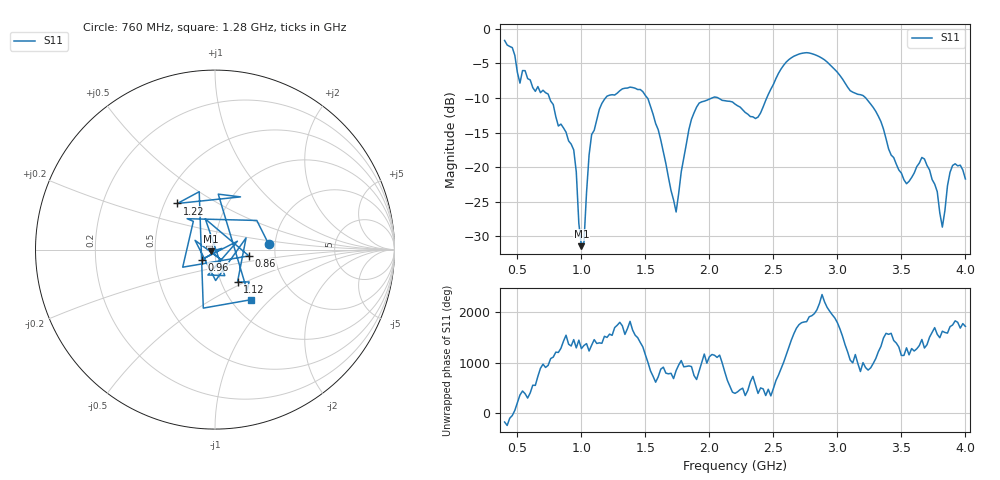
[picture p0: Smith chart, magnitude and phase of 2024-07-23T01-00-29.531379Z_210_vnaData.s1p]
!Created with skrf (http://scikit-rf.org).
# Hz S RI R 50.0
!freq ReS11 ImS11
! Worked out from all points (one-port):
!   181 points, 400 MHz to 4 GHz, reference 50 ohm
!   lowest |S11| = -31.4 dB at 1 GHz (marker M1), VSWR 1.06, Z = 47.6 - j0.991 ohm
!   |S11| at or under -10 dB: 751.3 MHz to 1.188 GHz (436.9 MHz wide, 45.1 % of centre); 1.516 GHz to 2.019 GHz (503.2 MHz wide, 28.5 % of centre); 3.222 GHz to end of sweep (the widest 3 of 4)
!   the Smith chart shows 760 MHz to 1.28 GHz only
!   S11 on the Smith chart (normalised r, x): 760 MHz: 1.85, +0.13; 860 MHz: 1.46, -0.11; 960 MHz: 0.86, -0.10; 1.12 GHz: 1.19, -0.45; 1.22 GHz: 0.58, +0.34; 1.28 GHz: 1.23, -0.78
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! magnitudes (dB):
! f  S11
! 400 MHz  -1.7
! 520 MHz  -7.8
! 560 MHz  -6.0
! 760 MHz  -10.4
! 860 MHz  -14.3
! 960 MHz  -20.7
! 1 GHz  -31.4
! 1.02 GHz  -30.8
! 1.06 GHz  -18.2
! 1.12 GHz  -13.2
! 1.22 GHz  -9.6
! 1.28 GHz  -9.3
! 1.3 GHz  -8.9
! 1.52 GHz  -10.1
! 1.74 GHz  -26.5
! 1.76 GHz  -23.8
! 1.9 GHz  -11.3
! 2.2 GHz  -10.9
! 2.38 GHz  -12.8
! 2.66 GHz  -4.0
! 3.1 GHz  -8.9
! 3.3 GHz  -11.9
! 3.56 GHz  -22.0
! 3.68 GHz  -18.8
! 3.78 GHz  -23.5
! 3.82 GHz  -28.7
! 3.9 GHz  -19.8
! 4 GHz  -21.7
